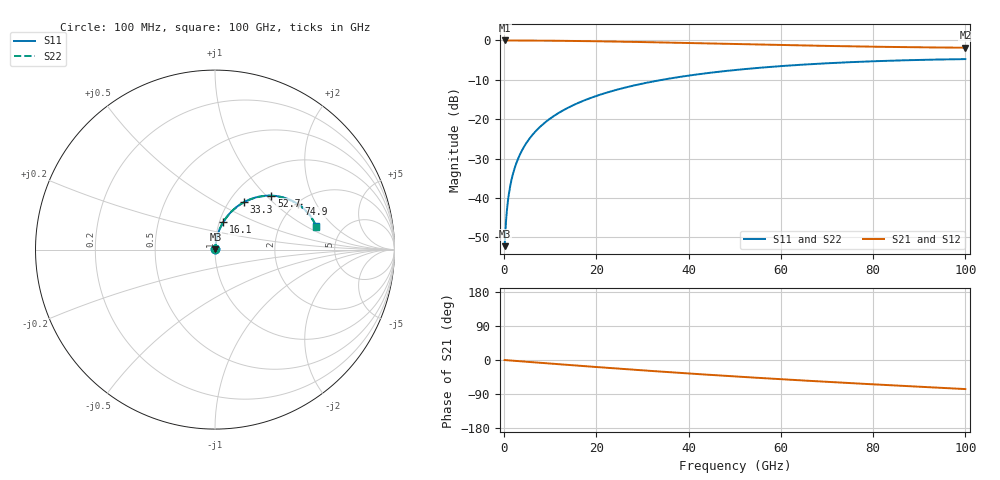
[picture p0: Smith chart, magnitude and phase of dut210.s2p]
! Touchstone file exported from HFSS 2026.1.0
!  File:  C:/ffzhzh/LocalFiles/Ansys_Project_Files/temp_train_RDL_210_1783500836_55944.aedt
!  Generated:  04:55:06 PM Jul  8, 2026
!  Design:  RDL
!  Project:  temp_train_RDL_210_1783500836_55944
! Variables:
!  h_bsmrdl = 2um
!  h_ox = 20um
!  h_rdl = 5um
!  h_sub = 80um
!  h_tmrdl = 2.14um
!  h_tsv = 80um
!  h_via = 3um
!  l_bsmrdl = 300um
!  l_sub = 623.91um
!  l_tmrdl = 223.91um
!  m_sub = 200um
!  pitch = 45.77um
!  r_tsv = 6um
!  s_tmrdl = 10um
!  w_bsmrdl = 18um
!  w_sub = 500um
!  w_tmrdl = 20.46um
!  x_tsv_center1 = 234.14um
!  x_tsv_center2 = 552.14um
!  x_tsv_center3 = 796.51um
!  x_tsv_center4 = 1114.51um
!  x_tsv_center5 = 1358.88um
!  x_tsv_center6 = 1676.88um
# GHz S MA R 50.000000
! Terminal data exported
! Port[1] = TM_RDL1_1_T1
! Port[2] = TM_RDL1_1_T2
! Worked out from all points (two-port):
!   1000 points, 100 MHz to 100 GHz, reference 50 ohm
!   highest |S21| = -0.02 dB at 100 MHz (marker M1); lowest = -1.9 dB at 100 GHz (marker M2)
!   |S21| within 3 dB of the highest: start of sweep to end of sweep
!   lowest |S11| = -52.3 dB at 100 MHz (marker M3), VSWR 1.00, Z = 50.2 + j0.113 ohm
!   |S11| at or under -10 dB: start of sweep to 34.31 GHz
!   |S22| runs from -52.3 to -4.8 dB; largest |S21 - S12| = 3.3e-15
!   S11 on the Smith chart (normalised r, x): 100 MHz: 1.00, +0.00; 16.1 GHz: 1.04, +0.33; 33.3 GHz: 1.17, +0.68; 52.7 GHz: 1.45, +1.07; 74.9 GHz: 2.06, +1.44; 100 GHz: 3.21, +1.25
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0.1  0.00244 27.5  0.9978 -0.1  0.9978 -0.1  0.00244 27.5
! Gamma 0 0 0 0
! Port Impedance 50 0 50 0
0.4  0.005004 62.0  0.9977 -0.4  0.9977 -0.4  0.005004 62.0
0.9  0.009975 74.1  0.9974 -0.9  0.9974 -0.9  0.009975 74.1
1.2  0.01298 76.9  0.9972 -1.2  0.9972 -1.2  0.01298 76.9
1.6  0.01701 79.1  0.9971 -1.5  0.9971 -1.5  0.01701 79.1
2.1  0.02208 80.6  0.9969 -2.0  0.9969 -2.0  0.02208 80.6
2.7  0.02819 81.5  0.9967 -2.6  0.9967 -2.6  0.02819 81.5
4.1  0.04246 82.0  0.9961 -3.9  0.9961 -3.9  0.04247 82.0
6.2  0.06381 81.2  0.9947 -5.9  0.9947 -5.9  0.06381 81.2
8.8  0.08999 79.4  0.9923 -8.3  0.9923 -8.3  0.08999 79.3
12.1  0.1226 76.7  0.9882 -11.4  0.9882 -11.4  0.1226 76.6
16.1  0.161 73.2  0.982 -15.0  0.982 -15.0  0.161 73.2
16.8  0.1676 72.6  0.9808 -15.7  0.9808 -15.7  0.1676 72.6
24.2  0.2344 66.3  0.966 -22.3  0.966 -22.3  0.2344 66.2
33.3  0.3086 58.7  0.944 -30.0  0.944 -30.0  0.3086 58.5
33.4  0.3093 58.6  0.9438 -30.1  0.9438 -30.1  0.3094 58.5
50.1  0.4206 45.7  0.8992 -43.4  0.8992 -43.4  0.4206 45.4
52.7  0.435 43.7  0.8923 -45.4  0.8923 -45.4  0.435 43.5
66.7  0.4998 33.9  0.8579 -55.4  0.8579 -55.4  0.4998 33.6
74.9  0.5283 28.5  0.8408 -60.9  0.8408 -60.9  0.5283 28.1
83.4  0.5513 23.1  0.826 -66.4  0.826 -66.4  0.5513 22.7
100  0.5785 13.0  0.8073 -76.7  0.8073 -76.7  0.5785 12.5
